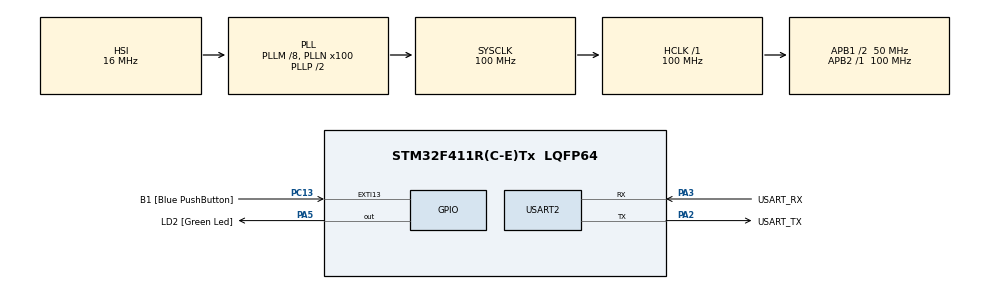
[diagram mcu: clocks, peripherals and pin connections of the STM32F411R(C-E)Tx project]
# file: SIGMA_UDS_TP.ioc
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Mcu.Family=STM32F4
PC15-OSC32_OUT.Mode=LSE-External-Oscillator
RCC.CortexFreq_Value=100000000
PC13-ANTI_TAMP.GPIO_Label=B1 [Blue PushButton]
PA14.GPIO_Label=TCK
PH1\ -\ OSC_OUT.Mode=HSE-External-Clock-Source
RCC.APB1CLKDivider=RCC_HCLK_DIV2
PC14-OSC32_IN.Signal=RCC_OSC32_IN
NVIC.USART2_IRQn=true\:0\:0\:false\:false\:true\:true\:true
RCC.SYSCLKSource=RCC_SYSCLKSOURCE_PLLCLK
ProjectManager.StackSize=0x400
PA13.Signal=SYS_JTMS-SWDIO
PA3.Mode=Asynchronous
PH0\ -\ OSC_IN.Mode=HSE-External-Clock-Source
PH0\ -\ OSC_IN.Signal=RCC_OSC_IN
ProjectManager.TargetToolchain=STM32CubeIDE
RCC.HCLKFreq_Value=100000000
RCC.APB2TimFreq_Value=100000000
PC15-OSC32_OUT.Signal=RCC_OSC32_OUT
RCC.AHBFreq_Value=100000000
NVIC.EXTI15_10_IRQn=true\:0\:0\:false\:false\:true\:true\:true
PA5.Signal=GPIO_Output
RCC.HSE_VALUE=8000000
PH1\ -\ OSC_OUT.Signal=RCC_OSC_OUT
board=NUCLEO-F411RE
PC13-ANTI_TAMP.Signal=GPXTI13
RCC.VCOOutputFreq_Value=200000000
RCC.APB2Freq_Value=100000000
PC14-OSC32_IN.Mode=LSE-External-Oscillator
PA14.Mode=Serial_Wire
PA13.Mode=Serial_Wire
Mcu.Name=STM32F411R(C-E)Tx
PA2.Signal=USART2_TX
PA13.GPIO_Label=TMS
RCC.FLatency-AdvancedSettings=FLASH_LATENCY_3
RCC.48MHZClocksFreq_Value=50000000
PB3.Signal=SYS_JTDO-SWO
RCC.SYSCLKFreq_VALUE=100000000
Mcu.Package=LQFP64
PA5.GPIO_Label=LD2 [Green Led]
USART2.VirtualMode=VM_ASYNC
PC13-ANTI_TAMP.GPIO_ModeDefaultEXTI=GPIO_MODE_IT_FALLING
PA2.GPIO_Label=USART_TX
PA14.Signal=SYS_JTCK-SWCLK
ProjectManager.HeapSize=0x200
RCC.HSI_VALUE=16000000
NVIC.PriorityGroup=NVIC_PRIORITYGROUP_0
RCC.PLLM=8
RCC.PLLN=100
RCC.APB1TimFreq_Value=100000000
PA2.Mode=Asynchronous
RCC.APB1Freq_Value=50000000
VP_CRC_VS_CRC.Mode=CRC_Activate
PA3.GPIO_Label=USART_RX
PA3.Signal=USART2_RX
PB3.GPIO_Label=SWO

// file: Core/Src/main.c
/* USER CODE BEGIN Header */
/**
  ******************************************************************************
  * @file           : main.c
  * @brief          : Main program body
  ******************************************************************************
  * @attention
  *
  * <h2><center>&copy; Copyright (c) 2026 STMicroelectronics.
  * All rights reserved.</center></h2>
  *
  * This software component is licensed by ST under BSD 3-Clause license,
  * the "License"; You may not use this file except in compliance with the
  * License. You may obtain a copy of the License at:
  *                        opensource.org/licenses/BSD-3-Clause
  *
  ******************************************************************************
  */
/* USER CODE END Header */
#include "main.h"
/* USER CODE BEGIN Includes */
#include "SIGMA_dcm_core.h"
/* USER CODE END Includes */

CRC_HandleTypeDef hcrc;
UART_HandleTypeDef huart2;

void SystemClock_Config(void);
static void MX_GPIO_Init(void);
static void MX_USART2_UART_Init(void);
static void MX_CRC_Init(void);

/* USER CODE BEGIN 0 */
volatile uint8_t frame_ready = 0;
uint8_t tx_buf[8];
uint8_t frame[ISO_UART_FRAME_LEN] = {0};
// variables
uint8_t Ecu_session = DEFAULT_SESSION;
uint8_t speed 		= 40;
uint8_t temp 		= 20;
bool    flag 		= false;
/* USER CODE END 0 */

int main(void)
{

  /* MCU Configuration--------------------------------------------------------*/

  /* Reset of all peripherals, Initializes the Flash interface and the Systick. */
  HAL_Init();

  /* Configure the system clock */
  SystemClock_Config();

  /* Initialize all configured peripherals */
  MX_GPIO_Init();
  MX_USART2_UART_Init();
  MX_CRC_Init();
  /* USER CODE BEGIN 2 */
  HAL_UARTEx_ReceiveToIdle_IT(&huart2, frame, ISO_UART_FRAME_LEN); // ARM for first time
  /* USER CODE END 2 */

  /* Infinite loop */
  /* USER CODE BEGIN WHILE */
  while (1)
  {
      if (frame_ready)
      {
          frame_ready = 0;
          DCM_Core_ProcessFrame(frame, tx_buf);   /* all PCI decode + dispatch here */
      }

      DCM_Core_Tick();   /* periodic IOControl update */
      HAL_Delay(10);
    /* USER CODE END WHILE */

  }
}

void SystemClock_Config(void)
{
  RCC_OscInitTypeDef RCC_OscInitStruct = {0};
  RCC_ClkInitTypeDef RCC_ClkInitStruct = {0};

  /** Configure the main internal regulator output voltage
  */
  __HAL_RCC_PWR_CLK_ENABLE();
  __HAL_PWR_VOLTAGESCALING_CONFIG(PWR_REGULATOR_VOLTAGE_SCALE1);
  /** Initializes the RCC Oscillators according to the specified parameters
  * in the RCC_OscInitTypeDef structure.
  */
  RCC_OscInitStruct.OscillatorType = RCC_OSCILLATORTYPE_HSI;
  RCC_OscInitStruct.HSIState = RCC_HSI_ON;
  RCC_OscInitStruct.HSICalibrationValue = RCC_HSICALIBRATION_DEFAULT;
  RCC_OscInitStruct.PLL.PLLState = RCC_PLL_ON;
  RCC_OscInitStruct.PLL.PLLSource = RCC_PLLSOURCE_HSI;
  RCC_OscInitStruct.PLL.PLLM = 8;
  RCC_OscInitStruct.PLL.PLLN = 100;
  RCC_OscInitStruct.PLL.PLLP = RCC_PLLP_DIV2;
  RCC_OscInitStruct.PLL.PLLQ = 4;
  if (HAL_RCC_OscConfig(&RCC_OscInitStruct) != HAL_OK)
  {
    Error_Handler();
  }
  /** Initializes the CPU, AHB and APB buses clocks
  */
  RCC_ClkInitStruct.ClockType = RCC_CLOCKTYPE_HCLK|RCC_CLOCKTYPE_SYSCLK
                              |RCC_CLOCKTYPE_PCLK1|RCC_CLOCKTYPE_PCLK2;
  RCC_ClkInitStruct.SYSCLKSource = RCC_SYSCLKSOURCE_PLLCLK;
  RCC_ClkInitStruct.AHBCLKDivider = RCC_SYSCLK_DIV1;
  RCC_ClkInitStruct.APB1CLKDivider = RCC_HCLK_DIV2;
  RCC_ClkInitStruct.APB2CLKDivider = RCC_HCLK_DIV1;

  if (HAL_RCC_ClockConfig(&RCC_ClkInitStruct, FLASH_LATENCY_3) != HAL_OK)
  {
    Error_Handler();
  }
}

static void MX_CRC_Init(void)
{

  hcrc.Instance = CRC;
  if (HAL_CRC_Init(&hcrc) != HAL_OK)
  {
    Error_Handler();
  }

}

static void MX_USART2_UART_Init(void)
{

  huart2.Instance = USART2;
  huart2.Init.BaudRate = 115200;
  huart2.Init.WordLength = UART_WORDLENGTH_8B;
  huart2.Init.StopBits = UART_STOPBITS_1;
  huart2.Init.Parity = UART_PARITY_NONE;
  huart2.Init.Mode = UART_MODE_TX_RX;
  huart2.Init.HwFlowCtl = UART_HWCONTROL_NONE;
  huart2.Init.OverSampling = UART_OVERSAMPLING_16;
  if (HAL_UART_Init(&huart2) != HAL_OK)
  {
    Error_Handler();
  }

}

static void MX_GPIO_Init(void)
{
  GPIO_InitTypeDef GPIO_InitStruct = {0};

  /* GPIO Ports Clock Enable */
  __HAL_RCC_GPIOC_CLK_ENABLE();
  __HAL_RCC_GPIOH_CLK_ENABLE();
  __HAL_RCC_GPIOA_CLK_ENABLE();
  __HAL_RCC_GPIOB_CLK_ENABLE();

  /*Configure GPIO pin Output Level */
  HAL_GPIO_WritePin(LD2_GPIO_Port, LD2_Pin, GPIO_PIN_RESET);

  /*Configure GPIO pin : B1_Pin */
  GPIO_InitStruct.Pin = B1_Pin;
  GPIO_InitStruct.Mode = GPIO_MODE_IT_FALLING;
  GPIO_InitStruct.Pull = GPIO_NOPULL;
  HAL_GPIO_Init(B1_GPIO_Port, &GPIO_InitStruct);

  /*Configure GPIO pin : LD2_Pin */
  GPIO_InitStruct.Pin = LD2_Pin;
  GPIO_InitStruct.Mode = GPIO_MODE_OUTPUT_PP;
  GPIO_InitStruct.Pull = GPIO_NOPULL;
  GPIO_InitStruct.Speed = GPIO_SPEED_FREQ_LOW;
  HAL_GPIO_Init(LD2_GPIO_Port, &GPIO_InitStruct);

  /* EXTI interrupt init*/
  HAL_NVIC_SetPriority(EXTI15_10_IRQn, 0, 0);
  HAL_NVIC_EnableIRQ(EXTI15_10_IRQn);

}

/* USER CODE BEGIN 4 */
void HAL_UARTEx_RxEventCallback(UART_HandleTypeDef *huart, uint16_t Size)
{
    if (huart->Instance == USART2)
    {
        frame_ready = 1;
        HAL_UARTEx_ReceiveToIdle_IT(&huart2, frame, ISO_UART_FRAME_LEN); // re-arm
    }
}
void HAL_GPIO_EXTI_Callback(uint16_t GPIO_Pin)
{
    if (GPIO_Pin == B1_Pin)
    {
        flag = !flag;

        if (speed == 0)
        {
            speed = 50;
            temp  = 20;
        }
        else
        {
            speed = 0;
            temp  = 9;
        }
    }
}

/* USER CODE END 4 */

void Error_Handler(void)
{
  __disable_irq();
  while (1)
  {
  }
}

/************************ (C) COPYRIGHT STMicroelectronics *****END OF FILE****/
